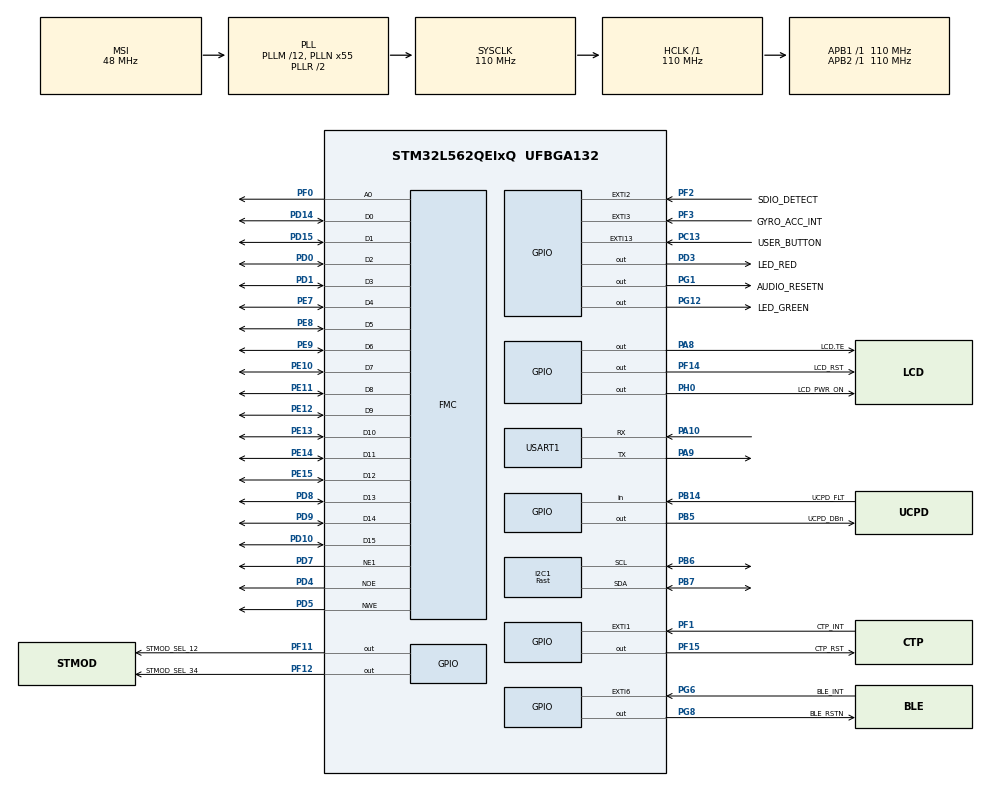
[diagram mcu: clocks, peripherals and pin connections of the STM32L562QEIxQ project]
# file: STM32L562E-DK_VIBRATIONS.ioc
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FMC.ExtendedMode1=FMC_EXTENDED_MODE_ENABLE
I2C1.I2C_Speed_Mode=I2C_Fast
I2C1.Timing=0x00A03AC8
Mcu.Family=STM32L5
Mcu.Name=STM32L562QEIxQ
Mcu.Package=UFBGA132
Mcu.TrustZone=disable
NVIC.EXTI13_IRQn=true\:0\:0\:false\:false\:true\:true\:true
NVIC.PriorityGroup=NVIC_PRIORITYGROUP_3
NVIC.TIM6_IRQn=true\:0\:0\:false\:false\:true\:true\:true
NVIC.USART1_IRQn=true\:0\:0\:false\:false\:true\:true\:true
PA10.Mode=Asynchronous
PA10.Signal=USART1_RX
PA13\ (JTMS/SWDIO).Signal=DEBUG_JTMS-SWDIO
PA14\ (JTCK/SWCLK).Signal=DEBUG_JTCK-SWCLK
PA8.GPIO_Label=LCD.TE
PA8.PinState=GPIO_PIN_RESET
PA8.Signal=GPIO_Output
PA9.Mode=Asynchronous
PA9.Signal=USART1_TX
PB10.Signal=LPUART1_RX
PB11.Signal=LPUART1_TX
PB12.Signal=S_DATAIN1DFSDM1
PB14.GPIO_Label=UCPD_FLT
PB14.Signal=GPIO_Input
PB15.Signal=UCPD1_CC2
PB3\ (JTDO/TRACESWO).Signal=DEBUG_JTDO-SWO
PB5.GPIO_Label=UCPD_DBn
PB5.Signal=GPIO_Output
PB6.Mode=I2C
PB6.Signal=I2C1_SCL
PB7.Mode=I2C
PB7.Signal=I2C1_SDA
PC13.GPIO_Label=USER_BUTTON
PC13.GPIO_PuPd=GPIO_NOPULL
PC13.Signal=GPXTI13
PD0.Signal=FMC_D2_DA2
PD1.Signal=FMC_D3_DA3
PD10.Signal=FMC_D15_DA15
PD14.Signal=FMC_D0_DA0
PD15.Signal=FMC_D1_DA1
PD3.GPIO_Label=LED_RED
PD3.Signal=GPIO_Output
PD4.Signal=FMC_NOE
PD5.Signal=FMC_NWE
PD7.Mode=NorPsramChipSelect1_1
PD7.Signal=FMC_NE1
PD8.Signal=FMC_D13_DA13
PD9.Signal=FMC_D14_DA14
PE10.Signal=FMC_D7_DA7
PE11.Signal=FMC_D8_DA8
PE12.Signal=FMC_D9_DA9
PE13.Signal=FMC_D10_DA10
PE14.Signal=FMC_D11_DA11
PE15.Signal=FMC_D12_DA12
PE7.Signal=FMC_D4_DA4
PE8.Signal=FMC_D5_DA5
PE9.Signal=FMC_D6_DA6
PF0.Signal=FMC_A0
PF1.GPIO_Label=CTP_INT
PF1.Signal=GPXTI1
PF11.GPIO_Label=STMOD_SEL_12
PF11.Signal=GPIO_Output
PF12.GPIO_Label=STMOD_SEL_34
PF12.Signal=GPIO_Output
PF14.GPIO_Label=LCD_RST
PF14.Signal=GPIO_Output
PF15.GPIO_Label=CTP_RST
PF15.Signal=GPIO_Output
PF2.GPIO_Label=SDIO_DETECT
PF2.Signal=GPXTI2
PF3.GPIO_Label=GYRO_ACC_INT
PF3.Signal=GPXTI3
PG1.GPIO_Label=AUDIO_RESETN
PG1.Signal=GPIO_Output
PG12.GPIO_Label=LED_GREEN
PG12.Signal=GPIO_Output
PG2.Signal=SPI1_SCK
PG3.Signal=SPI1_MISO
PG4.Signal=SPI1_MOSI
PG6.GPIO_Label=BLE_INT
PG6.Signal=GPXTI6
PG8.GPIO_Label=BLE_RSTN
PG8.Signal=GPIO_Output
PH0-OSC_IN\ (PH0).GPIO_Label=LCD_PWR_ON
PH0-OSC_IN\ (PH0).Signal=GPIO_Output
ProjectManager.HeapSize=0x200
ProjectManager.StackSize=0x400
ProjectManager.TargetToolchain=STM32CubeIDE
RCC.ADCFreq_Value=96000000
RCC.AHBFreq_Value=110000000
RCC.APB1Freq_Value=110000000
RCC.APB1TimFreq_Value=110000000
RCC.APB2Freq_Value=110000000
RCC.APB2TimFreq_Value=110000000
RCC.CK48CLockSelection=RCC_USBCLKSOURCE_MSI
RCC.CortexFreq_Value=110000000
RCC.HCLKFreq_Value=110000000
RCC.HSE_VALUE=8000000
RCC.HSI48_VALUE=48000000
RCC.HSI_VALUE=16000000
RCC.LSE_VALUE=32768
RCC.MSIClockRange=RCC_MSIRANGE_11
RCC.MSI_VALUE=48000000
RCC.PLLM=12
RCC.PLLN=55
RCC.PLLSAI1M=4
RCC.PLLSAI1N=48
RCC.PLLSAI1P=RCC_PLLP_DIV17
RCC.PLLSAI1Source=RCC_PLLSAI1SOURCE_HSI
RCC.SDMMCClockSelection=RCC_SDIOCLKSOURCE_CLK48
RCC.SYSCLKFreq_VALUE=110000000
RCC.SYSCLKSource=RCC_SYSCLKSOURCE_PLLCLK
RCC.USBFreq_Value=48000000
RCC.VCOOutputFreq_Value=220000000
SH.FMC_A0.0=FMC_A0,A0_1
SH.FMC_D0_DA0.0=FMC_DA0
SH.FMC_D0_DA0.1=FMC_D0,16b-d1
SH.FMC_D10_DA10.0=FMC_DA10
SH.FMC_D10_DA10.1=FMC_D10,16b-d1
SH.FMC_D11_DA11.0=FMC_DA11
SH.FMC_D11_DA11.1=FMC_D11,16b-d1
SH.FMC_D12_DA12.0=FMC_DA12
SH.FMC_D12_DA12.1=FMC_D12,16b-d1
SH.FMC_D13_DA13.0=FMC_DA13
SH.FMC_D13_DA13.1=FMC_D13,16b-d1
SH.FMC_D14_DA14.0=FMC_DA14
SH.FMC_D14_DA14.1=FMC_D14,16b-d1
SH.FMC_D15_DA15.0=FMC_DA15
SH.FMC_D15_DA15.1=FMC_D15,16b-d1
SH.FMC_D1_DA1.0=FMC_DA1
SH.FMC_D1_DA1.1=FMC_D1,16b-d1
SH.FMC_D2_DA2.0=FMC_DA2
SH.FMC_D2_DA2.1=FMC_D2,16b-d1
SH.FMC_D3_DA3.0=FMC_DA3
SH.FMC_D3_DA3.1=FMC_D3,16b-d1
SH.FMC_D4_DA4.0=FMC_DA4
SH.FMC_D4_DA4.1=FMC_D4,16b-d1
SH.FMC_D5_DA5.0=FMC_DA5
SH.FMC_D5_DA5.1=FMC_D5,16b-d1
SH.FMC_D6_DA6.0=FMC_DA6
SH.FMC_D6_DA6.1=FMC_D6,16b-d1
SH.FMC_D7_DA7.0=FMC_DA7
SH.FMC_D7_DA7.1=FMC_D7,16b-d1
SH.FMC_D8_DA8.0=FMC_DA8
SH.FMC_D8_DA8.1=FMC_D8,16b-d1
SH.FMC_D9_DA9.0=FMC_DA9
SH.FMC_D9_DA9.1=FMC_D9,16b-d1
SH.FMC_NOE.0=FMC_NOE,Lcd1
SH.FMC_NWE.0=FMC_NWE,Lcd1
SH.S_DATAIN1DFSDM1.0=DFSDM1_DATIN1
TIM6.Period=4999
TIM6.Prescaler=10999
USART1.VirtualMode-Asynchronous=VM_ASYNC
VP_PWR_VS_DBSignals.Mode=DisableDeadBatterySignals
VP_TIM6_VS_ClockSourceINT.Mode=Enable_Timer
board=STM32L562E-DK

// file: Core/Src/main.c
/* USER CODE BEGIN Header */
/**
  ******************************************************************************
  * @file           : main.c
  * @brief          : Main program body
  ******************************************************************************
  * @attention
  *
  * <h2><center>&copy; Copyright (c) 2021 STMicroelectronics.
  * All rights reserved.</center></h2>
  *
  * This software component is licensed by ST under BSD 3-Clause license,
  * the "License"; You may not use this file except in compliance with the
  * License. You may obtain a copy of the License at:
  *                        opensource.org/licenses/BSD-3-Clause
  *
  ******************************************************************************
  */
/* USER CODE END Header */
#include "main.h"

/* USER CODE BEGIN Includes */

#include <stdio.h>
#include <string.h>
#include "stm32l562e_discovery_lcd.h"
#include "lsm6dso.h"
#include "NanoEdgeAI.h"

/* USER CODE END Includes */

/* USER CODE BEGIN PTD */

typedef union {
  int16_t i16bit[AXIS_NUMBER];
  uint8_t u8bit[AXIS_NUMBER * 2];
} axis3bit16_t;

typedef enum{
	LEARNING,
	DETECTION
} NEAI_STATE;

typedef enum{
	DETECTION_CPU,
	NEAI_STATS
} LCD_DISPLAY_TYPE;

/* USER CODE END PTD */

/* USER CODE BEGIN PD */

#define LCD_INSTANCE			0
#define ACC_DATA_RATE			833		// 833, 1667 or 3333 Hz
#define DATALOG					0		// 0: program in NanoEdge AI mode | 1: program in datalogging mode
#define LEARNING_ITERATIONS		50		// When DATALOG 1: number of signals logged
#define NEAI_THRESHOLD			95		// Between 1 and 99, typically around 90

/* USER CODE END PD */

I2C_HandleTypeDef hi2c1;

TIM_HandleTypeDef htim6;

UART_HandleTypeDef huart1;

SRAM_HandleTypeDef hsram1;

/* USER CODE BEGIN PV */

stmdev_ctx_t accel_dev;

float acc_buffer_mg[AXIS_NUMBER * DATA_INPUT_USER + 1] = {0.0};
uint8_t display_string[50];
NEAI_STATE neai_state = LEARNING;
uint8_t learn_iteration = 0;
uint8_t similarity = 0, previous_similarity = 0;

float CPU_percent = 0.0;
uint32_t cycle_count = 55000000;

LCD_DISPLAY_TYPE lcd_display = DETECTION_CPU, previous_lcd_display = DETECTION_CPU;

/* USER CODE END PV */

void SystemClock_Config(void);
static void MX_GPIO_Init(void);
static void MX_FMC_Init(void);
static void MX_I2C1_Init(void);
static void MX_USART1_UART_Init(void);
static void MX_TIM6_Init(void);
/* USER CODE BEGIN PFP */

float map(float x, float in_min, float in_max, float out_min, float out_max);
void LCD_Screen_Init(void);
void LCD_Set_Text_Display(uint32_t backgroundColor, uint32_t textColor, sFONT * fontSize);
int32_t platform_write(void *handle, uint8_t reg, uint8_t *bufp, uint16_t len);
int32_t platform_read(void *handle, uint8_t reg, uint8_t *bufp, uint16_t len);
void LSM6DSO_Init(void);
void print_acc_data(void);
void draw_similarity_graph_axes(void);
void display_similarity_graph(void);

/* USER CODE END PFP */

int main(void)
{

  /* MCU Configuration--------------------------------------------------------*/

  /* Reset of all peripherals, Initializes the Flash interface and the Systick. */
  HAL_Init();

  /* Configure the system clock */
  SystemClock_Config();

  /* Initialize all configured peripherals */
  MX_GPIO_Init();
  MX_FMC_Init();
  MX_I2C1_Init();
  MX_USART1_UART_Init();
  MX_TIM6_Init();
  /* USER CODE BEGIN 2 */

#if DATALOG
  __HAL_TIM_SET_AUTORELOAD(&htim6, 14999);		// Set loop period to 1,5s
#endif

  enum neai_state error_code = neai_anomalydetection_init();	// Anomaly Detection init
  if (error_code != NEAI_OK) {									// Checking NEAI error code
	  printf("NEAI ERROR %d\nPROGRAM STOPPED\r\n", error_code);
	  while(1){}
  }

  LSM6DSO_Init();
  LCD_Screen_Init();
  HAL_TIM_Base_Start_IT(&htim6);

  /* USER CODE END 2 */

  /* Infinite loop */
  while (1)
  {

  }
}

void SystemClock_Config(void)
{
  RCC_OscInitTypeDef RCC_OscInitStruct = {0};
  RCC_ClkInitTypeDef RCC_ClkInitStruct = {0};

  /** Configure the main internal regulator output voltage
  */
  if (HAL_PWREx_ControlVoltageScaling(PWR_REGULATOR_VOLTAGE_SCALE0) != HAL_OK)
  {
    Error_Handler();
  }
  /** Initializes the RCC Oscillators according to the specified parameters
  * in the RCC_OscInitTypeDef structure.
  */
  RCC_OscInitStruct.OscillatorType = RCC_OSCILLATORTYPE_MSI;
  RCC_OscInitStruct.MSIState = RCC_MSI_ON;
  RCC_OscInitStruct.MSICalibrationValue = RCC_MSICALIBRATION_DEFAULT;
  RCC_OscInitStruct.MSIClockRange = RCC_MSIRANGE_11;
  RCC_OscInitStruct.PLL.PLLState = RCC_PLL_ON;
  RCC_OscInitStruct.PLL.PLLSource = RCC_PLLSOURCE_MSI;
  RCC_OscInitStruct.PLL.PLLM = 12;
  RCC_OscInitStruct.PLL.PLLN = 55;
  RCC_OscInitStruct.PLL.PLLP = RCC_PLLP_DIV7;
  RCC_OscInitStruct.PLL.PLLQ = RCC_PLLQ_DIV2;
  RCC_OscInitStruct.PLL.PLLR = RCC_PLLR_DIV2;
  if (HAL_RCC_OscConfig(&RCC_OscInitStruct) != HAL_OK)
  {
    Error_Handler();
  }
  /** Initializes the CPU, AHB and APB buses clocks
  */
  RCC_ClkInitStruct.ClockType = RCC_CLOCKTYPE_HCLK|RCC_CLOCKTYPE_SYSCLK
                              |RCC_CLOCKTYPE_PCLK1|RCC_CLOCKTYPE_PCLK2;
  RCC_ClkInitStruct.SYSCLKSource = RCC_SYSCLKSOURCE_PLLCLK;
  RCC_ClkInitStruct.AHBCLKDivider = RCC_SYSCLK_DIV1;
  RCC_ClkInitStruct.APB1CLKDivider = RCC_HCLK_DIV1;
  RCC_ClkInitStruct.APB2CLKDivider = RCC_HCLK_DIV1;

  if (HAL_RCC_ClockConfig(&RCC_ClkInitStruct, FLASH_LATENCY_5) != HAL_OK)
  {
    Error_Handler();
  }
}

static void MX_I2C1_Init(void)
{

  hi2c1.Instance = I2C1;
  hi2c1.Init.Timing = 0x00A03AC8;
  hi2c1.Init.OwnAddress1 = 0;
  hi2c1.Init.AddressingMode = I2C_ADDRESSINGMODE_7BIT;
  hi2c1.Init.DualAddressMode = I2C_DUALADDRESS_DISABLE;
  hi2c1.Init.OwnAddress2 = 0;
  hi2c1.Init.OwnAddress2Masks = I2C_OA2_NOMASK;
  hi2c1.Init.GeneralCallMode = I2C_GENERALCALL_DISABLE;
  hi2c1.Init.NoStretchMode = I2C_NOSTRETCH_DISABLE;
  if (HAL_I2C_Init(&hi2c1) != HAL_OK)
  {
    Error_Handler();
  }
  /** Configure Analogue filter
  */
  if (HAL_I2CEx_ConfigAnalogFilter(&hi2c1, I2C_ANALOGFILTER_ENABLE) != HAL_OK)
  {
    Error_Handler();
  }
  /** Configure Digital filter
  */
  if (HAL_I2CEx_ConfigDigitalFilter(&hi2c1, 0) != HAL_OK)
  {
    Error_Handler();
  }

}

static void MX_TIM6_Init(void)
{

  TIM_MasterConfigTypeDef sMasterConfig = {0};

  htim6.Instance = TIM6;
  htim6.Init.Prescaler = 10999;
  htim6.Init.CounterMode = TIM_COUNTERMODE_UP;
  htim6.Init.Period = 4999;
  htim6.Init.AutoReloadPreload = TIM_AUTORELOAD_PRELOAD_DISABLE;
  if (HAL_TIM_Base_Init(&htim6) != HAL_OK)
  {
    Error_Handler();
  }
  sMasterConfig.MasterOutputTrigger = TIM_TRGO_RESET;
  sMasterConfig.MasterSlaveMode = TIM_MASTERSLAVEMODE_DISABLE;
  if (HAL_TIMEx_MasterConfigSynchronization(&htim6, &sMasterConfig) != HAL_OK)
  {
    Error_Handler();
  }

}

static void MX_USART1_UART_Init(void)
{

  huart1.Instance = USART1;
  huart1.Init.BaudRate = 115200;
  huart1.Init.WordLength = UART_WORDLENGTH_8B;
  huart1.Init.StopBits = UART_STOPBITS_1;
  huart1.Init.Parity = UART_PARITY_NONE;
  huart1.Init.Mode = UART_MODE_TX_RX;
  huart1.Init.HwFlowCtl = UART_HWCONTROL_NONE;
  huart1.Init.OverSampling = UART_OVERSAMPLING_16;
  huart1.Init.OneBitSampling = UART_ONE_BIT_SAMPLE_DISABLE;
  huart1.Init.ClockPrescaler = UART_PRESCALER_DIV1;
  huart1.AdvancedInit.AdvFeatureInit = UART_ADVFEATURE_NO_INIT;
  if (HAL_UART_Init(&huart1) != HAL_OK)
  {
    Error_Handler();
  }
  if (HAL_UARTEx_SetTxFifoThreshold(&huart1, UART_TXFIFO_THRESHOLD_1_8) != HAL_OK)
  {
    Error_Handler();
  }
  if (HAL_UARTEx_SetRxFifoThreshold(&huart1, UART_RXFIFO_THRESHOLD_1_8) != HAL_OK)
  {
    Error_Handler();
  }
  if (HAL_UARTEx_DisableFifoMode(&huart1) != HAL_OK)
  {
    Error_Handler();
  }

}

/* FMC initialization function */
static void MX_FMC_Init(void)
{

  FMC_NORSRAM_TimingTypeDef Timing = {0};
  FMC_NORSRAM_TimingTypeDef ExtTiming = {0};

  /** Perform the SRAM1 memory initialization sequence
  */
  hsram1.Instance = FMC_NORSRAM_DEVICE;
  hsram1.Extended = FMC_NORSRAM_EXTENDED_DEVICE;
  /* hsram1.Init */
  hsram1.Init.NSBank = FMC_NORSRAM_BANK1;
  hsram1.Init.DataAddressMux = FMC_DATA_ADDRESS_MUX_DISABLE;
  hsram1.Init.MemoryType = FMC_MEMORY_TYPE_SRAM;
  hsram1.Init.MemoryDataWidth = FMC_NORSRAM_MEM_BUS_WIDTH_16;
  hsram1.Init.BurstAccessMode = FMC_BURST_ACCESS_MODE_DISABLE;
  hsram1.Init.WaitSignalPolarity = FMC_WAIT_SIGNAL_POLARITY_LOW;
  hsram1.Init.WaitSignalActive = FMC_WAIT_TIMING_BEFORE_WS;
  hsram1.Init.WriteOperation = FMC_WRITE_OPERATION_ENABLE;
  hsram1.Init.WaitSignal = FMC_WAIT_SIGNAL_DISABLE;
  hsram1.Init.ExtendedMode = FMC_EXTENDED_MODE_ENABLE;
  hsram1.Init.AsynchronousWait = FMC_ASYNCHRONOUS_WAIT_DISABLE;
  hsram1.Init.WriteBurst = FMC_WRITE_BURST_DISABLE;
  hsram1.Init.ContinuousClock = FMC_CONTINUOUS_CLOCK_SYNC_ONLY;
  hsram1.Init.WriteFifo = FMC_WRITE_FIFO_ENABLE;
  hsram1.Init.NBLSetupTime = 0;
  hsram1.Init.PageSize = FMC_PAGE_SIZE_NONE;
  hsram1.Init.MaxChipSelectPulse = DISABLE;
  /* Timing */
  Timing.AddressSetupTime = 15;
  Timing.AddressHoldTime = 15;
  Timing.DataSetupTime = 255;
  Timing.DataHoldTime = 0;
  Timing.BusTurnAroundDuration = 15;
  Timing.CLKDivision = 16;
  Timing.DataLatency = 17;
  Timing.AccessMode = FMC_ACCESS_MODE_A;
  /* ExtTiming */
  ExtTiming.AddressSetupTime = 15;
  ExtTiming.AddressHoldTime = 15;
  ExtTiming.DataSetupTime = 255;
  ExtTiming.DataHoldTime = 0;
  ExtTiming.BusTurnAroundDuration = 15;
  ExtTiming.CLKDivision = 16;
  ExtTiming.DataLatency = 17;
  ExtTiming.AccessMode = FMC_ACCESS_MODE_A;

  if (HAL_SRAM_Init(&hsram1, &Timing, &ExtTiming) != HAL_OK)
  {
    Error_Handler( );
  }

}

static void MX_GPIO_Init(void)
{
  GPIO_InitTypeDef GPIO_InitStruct = {0};

  /* GPIO Ports Clock Enable */
  __HAL_RCC_GPIOB_CLK_ENABLE();
  __HAL_RCC_GPIOG_CLK_ENABLE();
  HAL_PWREx_EnableVddIO2();
  __HAL_RCC_GPIOD_CLK_ENABLE();
  __HAL_RCC_GPIOC_CLK_ENABLE();
  __HAL_RCC_GPIOA_CLK_ENABLE();
  __HAL_RCC_GPIOF_CLK_ENABLE();
  __HAL_RCC_GPIOH_CLK_ENABLE();
  __HAL_RCC_GPIOE_CLK_ENABLE();

  /*Configure GPIO pin Output Level */
  HAL_GPIO_WritePin(GPIOG, LED_GREEN_Pin|BLE_RSTN_Pin|AUDIO_RESETN_Pin, GPIO_PIN_RESET);

  /*Configure GPIO pin Output Level */
  HAL_GPIO_WritePin(LED_RED_GPIO_Port, LED_RED_Pin, GPIO_PIN_RESET);

  /*Configure GPIO pin Output Level */
  HAL_GPIO_WritePin(UCPD_DBn_GPIO_Port, UCPD_DBn_Pin, GPIO_PIN_RESET);

  /*Configure GPIO pin Output Level */
  HAL_GPIO_WritePin(LCD_TE_GPIO_Port, LCD_TE_Pin, GPIO_PIN_RESET);

  /*Configure GPIO pin Output Level */
  HAL_GPIO_WritePin(LCD_PWR_ON_GPIO_Port, LCD_PWR_ON_Pin, GPIO_PIN_RESET);

  /*Configure GPIO pin Output Level */
  HAL_GPIO_WritePin(GPIOF, LCD_RST_Pin|STMOD_SEL_12_Pin|STMOD_SEL_34_Pin|CTP_RST_Pin, GPIO_PIN_RESET);

  /*Configure GPIO pins : LED_GREEN_Pin BLE_RSTN_Pin AUDIO_RESETN_Pin */
  GPIO_InitStruct.Pin = LED_GREEN_Pin|BLE_RSTN_Pin|AUDIO_RESETN_Pin;
  GPIO_InitStruct.Mode = GPIO_MODE_OUTPUT_PP;
  GPIO_InitStruct.Pull = GPIO_NOPULL;
  GPIO_InitStruct.Speed = GPIO_SPEED_FREQ_LOW;
  HAL_GPIO_Init(GPIOG, &GPIO_InitStruct);

  /*Configure GPIO pin : USER_BUTTON_Pin */
  GPIO_InitStruct.Pin = USER_BUTTON_Pin;
  GPIO_InitStruct.Mode = GPIO_MODE_IT_RISING;
  GPIO_InitStruct.Pull = GPIO_NOPULL;
  HAL_GPIO_Init(USER_BUTTON_GPIO_Port, &GPIO_InitStruct);

  /*Configure GPIO pin : LED_RED_Pin */
  GPIO_InitStruct.Pin = LED_RED_Pin;
  GPIO_InitStruct.Mode = GPIO_MODE_OUTPUT_PP;
  GPIO_InitStruct.Pull = GPIO_NOPULL;
  GPIO_InitStruct.Speed = GPIO_SPEED_FREQ_LOW;
  HAL_GPIO_Init(LED_RED_GPIO_Port, &GPIO_InitStruct);

  /*Configure GPIO pins : GYRO_ACC_INT_Pin SDIO_DETECT_Pin CTP_INT_Pin */
  GPIO_InitStruct.Pin = GYRO_ACC_INT_Pin|SDIO_DETECT_Pin|CTP_INT_Pin;
  GPIO_InitStruct.Mode = GPIO_MODE_IT_RISING;
  GPIO_InitStruct.Pull = GPIO_NOPULL;
  HAL_GPIO_Init(GPIOF, &GPIO_InitStruct);

  /*Configure GPIO pin : UCPD_DBn_Pin */
  GPIO_InitStruct.Pin = UCPD_DBn_Pin;
  GPIO_InitStruct.Mode = GPIO_MODE_OUTPUT_PP;
  GPIO_InitStruct.Pull = GPIO_NOPULL;
  GPIO_InitStruct.Speed = GPIO_SPEED_FREQ_LOW;
  HAL_GPIO_Init(UCPD_DBn_GPIO_Port, &GPIO_InitStruct);

  /*Configure GPIO pin : LCD_TE_Pin */
  GPIO_InitStruct.Pin = LCD_TE_Pin;
  GPIO_InitStruct.Mode = GPIO_MODE_OUTPUT_PP;
  GPIO_InitStruct.Pull = GPIO_NOPULL;
  GPIO_InitStruct.Speed = GPIO_SPEED_FREQ_LOW;
  HAL_GPIO_Init(LCD_TE_GPIO_Port, &GPIO_InitStruct);

  /*Configure GPIO pin : LCD_PWR_ON_Pin */
  GPIO_InitStruct.Pin = LCD_PWR_ON_Pin;
  GPIO_InitStruct.Mode = GPIO_MODE_OUTPUT_PP;
  GPIO_InitStruct.Pull = GPIO_NOPULL;
  GPIO_InitStruct.Speed = GPIO_SPEED_FREQ_LOW;
  HAL_GPIO_Init(LCD_PWR_ON_GPIO_Port, &GPIO_InitStruct);

  /*Configure GPIO pin : BLE_INT_Pin */
  GPIO_InitStruct.Pin = BLE_INT_Pin;
  GPIO_InitStruct.Mode = GPIO_MODE_IT_RISING;
  GPIO_InitStruct.Pull = GPIO_NOPULL;
  HAL_GPIO_Init(BLE_INT_GPIO_Port, &GPIO_InitStruct);

  /*Configure GPIO pins : PG4 PG2 PG3 */
  GPIO_InitStruct.Pin = GPIO_PIN_4|GPIO_PIN_2|GPIO_PIN_3;
  GPIO_InitStruct.Mode = GPIO_MODE_AF_PP;
  GPIO_InitStruct.Pull = GPIO_NOPULL;
  GPIO_InitStruct.Speed = GPIO_SPEED_FREQ_LOW;
  GPIO_InitStruct.Alternate = GPIO_AF5_SPI1;
  HAL_GPIO_Init(GPIOG, &GPIO_InitStruct);

  /*Configure GPIO pins : LCD_RST_Pin STMOD_SEL_12_Pin STMOD_SEL_34_Pin CTP_RST_Pin */
  GPIO_InitStruct.Pin = LCD_RST_Pin|STMOD_SEL_12_Pin|STMOD_SEL_34_Pin|CTP_RST_Pin;
  GPIO_InitStruct.Mode = GPIO_MODE_OUTPUT_PP;
  GPIO_InitStruct.Pull = GPIO_NOPULL;
  GPIO_InitStruct.Speed = GPIO_SPEED_FREQ_LOW;
  HAL_GPIO_Init(GPIOF, &GPIO_InitStruct);

  /*Configure GPIO pins : PB10 PB11 */
  GPIO_InitStruct.Pin = GPIO_PIN_10|GPIO_PIN_11;
  GPIO_InitStruct.Mode = GPIO_MODE_AF_PP;
  GPIO_InitStruct.Pull = GPIO_NOPULL;
  GPIO_InitStruct.Speed = GPIO_SPEED_FREQ_LOW;
  GPIO_InitStruct.Alternate = GPIO_AF8_LPUART1;
  HAL_GPIO_Init(GPIOB, &GPIO_InitStruct);

  /*Configure GPIO pin : UCPD_FLT_Pin */
  GPIO_InitStruct.Pin = UCPD_FLT_Pin;
  GPIO_InitStruct.Mode = GPIO_MODE_INPUT;
  GPIO_InitStruct.Pull = GPIO_NOPULL;
  HAL_GPIO_Init(UCPD_FLT_GPIO_Port, &GPIO_InitStruct);

  /*Configure GPIO pin : PB15 */
  GPIO_InitStruct.Pin = GPIO_PIN_15;
  GPIO_InitStruct.Mode = GPIO_MODE_ANALOG;
  GPIO_InitStruct.Pull = GPIO_NOPULL;
  HAL_GPIO_Init(GPIOB, &GPIO_InitStruct);

  /*Configure GPIO pin : PB12 */
  GPIO_InitStruct.Pin = GPIO_PIN_12;
  GPIO_InitStruct.Mode = GPIO_MODE_AF_PP;
  GPIO_InitStruct.Pull = GPIO_NOPULL;
  GPIO_InitStruct.Speed = GPIO_SPEED_FREQ_LOW;
  GPIO_InitStruct.Alternate = GPIO_AF6_DFSDM1;
  HAL_GPIO_Init(GPIOB, &GPIO_InitStruct);

  /* EXTI interrupt init*/
  HAL_NVIC_SetPriority(EXTI13_IRQn, 0, 0);
  HAL_NVIC_EnableIRQ(EXTI13_IRQn);

}

/* USER CODE BEGIN 4 */

/*
 * __io_putchar(int ch) and int _write(int file,char *ptr, int len):
 * Functions allowing to use printf to a serial terminal
 */
int __io_putchar(int ch)
{
	uint8_t c[1];
	c[0] = ch & 0x00FF;
	HAL_UART_Transmit(&huart1, &*c, 1, 1000);
	return ch;
}

int _write(int file,char *ptr, int len)
{
	int DataIdx;
	for(DataIdx= 0; DataIdx< len; DataIdx++) {
		__io_putchar(*ptr++);
	}
	return len;
}

/*
 * Function to map a value from an input range to an output range
 */
float map(float x, float in_min, float in_max, float out_min, float out_max)
{
	return (x - in_min) * (out_max - out_min) / (in_max - in_min) + out_min;
}

/*
 * LCD screen Init function
 */
void LCD_Screen_Init(void)
{
	if(BSP_LCD_Init(LCD_INSTANCE, LCD_ORIENTATION_PORTRAIT) != BSP_ERROR_NONE) {
			while(1){}
	}
	if(BSP_LCD_SetFuncDriver() != BSP_ERROR_NONE) {
			while(1){}
	}
	if(BSP_LCD_DisplayOn(LCD_INSTANCE) != BSP_ERROR_NONE) {
			while(1){}
	}
}

/*
 * LCD screen display settings
 */
void LCD_Set_Text_Display(uint32_t backgroundColor, uint32_t textColor, sFONT * fontSize)
{
	BSP_LCD_SetFont(fontSize);
	BSP_LCD_SetBackColor(backgroundColor);
	BSP_LCD_SetTextColor(textColor);
}

/*
 * I2C read and write functions used by the LSM6DSO driver
 */
int32_t platform_write(void *handle, uint8_t reg, uint8_t *bufp, uint16_t len)
{
	int32_t status = 0;
	status = HAL_I2C_Mem_Write(handle, LSM6DSO_I2C_ADD_L, reg, I2C_MEMADD_SIZE_8BIT, bufp, len, 1000);
	return status;
}

int32_t platform_read(void *handle, uint8_t reg, uint8_t *bufp, uint16_t len)
{
	int32_t status = 0;
	status = HAL_I2C_Mem_Read(handle, LSM6DSO_I2C_ADD_L, reg, I2C_MEMADD_SIZE_8BIT, bufp, len, 1000);
	return status;
}

/*
 * LSM6DSO accelerometer init function
 */
void LSM6DSO_Init(void)
{
	uint8_t whoamI = 0, rst = 0;
	accel_dev.handle = &hi2c1;
	accel_dev.write_reg = platform_write;
	accel_dev.read_reg = platform_read;

	lsm6dso_reset_set(&accel_dev, PROPERTY_ENABLE);		// Restore default configuration
	HAL_Delay(100);										// Wait sensor boot time (min = 10 ms)
	lsm6dso_device_id_get(&accel_dev, &whoamI);			// Check device ID
	if (whoamI != LSM6DSO_ID) {
		printf("ERROR LSM6DSO WHOAMI: whoami = %d\r\n", whoamI);
		LSM6DSO_Init();
	}
	do {
		lsm6dso_reset_get(&accel_dev, &rst);
	} while (rst);

	lsm6dso_i3c_disable_set(&accel_dev, LSM6DSO_I3C_DISABLE);			// Disable I3C interface
	lsm6dso_block_data_update_set(&accel_dev, PROPERTY_ENABLE);			// Enable Block Data Update
	lsm6dso_xl_full_scale_set(&accel_dev, LSM6DSO_2g);					// Set full scale (sensitivity) to 2g
	if(ACC_DATA_RATE == 3333)
		lsm6dso_xl_data_rate_set(&accel_dev, LSM6DSO_XL_ODR_3333Hz);	// Set Output Data Rate to 3333 Hz
	else if(ACC_DATA_RATE == 1667)
		lsm6dso_xl_data_rate_set(&accel_dev, LSM6DSO_XL_ODR_1667Hz);	// Set Output Data Rate to 1667 Hz
	else
		lsm6dso_xl_data_rate_set(&accel_dev, LSM6DSO_XL_ODR_833Hz);		// Set Output Data Rate to 833 Hz
}

/*
 * Print accelerometer data buffer
 */
void print_acc_data(void)
{
	static char acc_buffer_mg_uint8[8 * DATA_INPUT_USER * AXIS_NUMBER + 1];
	for(uint32_t buf_index = 0 ; buf_index < DATA_INPUT_USER * AXIS_NUMBER ; buf_index++) {
		snprintf(acc_buffer_mg_uint8 + 8*buf_index, 8, "%.5f", acc_buffer_mg[buf_index]);
		*(acc_buffer_mg_uint8 + 8*buf_index + 7) = ' ';
	}
	*(acc_buffer_mg_uint8 + 8*(DATA_INPUT_USER * AXIS_NUMBER)) = '\n';
	HAL_UART_Transmit_IT(&huart1, (uint8_t *)acc_buffer_mg_uint8, sizeof(acc_buffer_mg_uint8));
}

/*
 * Draw X and Y axes to display similarity graph
 */
void draw_similarity_graph_axes(void)
{
	// Draw X-axis (line + arrow)
	BSP_LCD_DrawLine(LCD_INSTANCE, 8, 233, 230, 233, LCD_COLOR_WHITE);
	BSP_LCD_DrawLine(LCD_INSTANCE, 230, 233, 227, 236, LCD_COLOR_WHITE);
	BSP_LCD_DrawLine(LCD_INSTANCE, 230, 233, 227, 230, LCD_COLOR_WHITE);

	// Draw Y-axis (line + arrow)
	BSP_LCD_DrawLine(LCD_INSTANCE, 11, 236, 11, 175, LCD_COLOR_WHITE);
	BSP_LCD_DrawLine(LCD_INSTANCE, 11, 175, 8, 178, LCD_COLOR_WHITE);
	BSP_LCD_DrawLine(LCD_INSTANCE, 11, 175, 14, 178, LCD_COLOR_WHITE);
}

/*
 * Display the similarity graph
 */
void display_similarity_graph(void)
{
	static uint8_t pix[43][49] = {{0}};
	static uint8_t previous_x_pix = 50, previous_y_pix = 0;
	static float last_y_pix = 0.0;

	BSP_LCD_FillRect(LCD_INSTANCE, 13, 182, 212, 49, BSP_LCD_GetBackColor());
	pix[42][(uint32_t)last_y_pix] = 0;
	BSP_LCD_DrawLine(LCD_INSTANCE, 220, 231 - (uint32_t)last_y_pix, 224, 231 - (uint32_t)last_y_pix, BSP_LCD_GetBackColor());
	last_y_pix = map((float)similarity, 0.0, 100.0, 0.0, 48.0);
	pix[42][(uint32_t)last_y_pix] = 1;
	BSP_LCD_DrawLine(LCD_INSTANCE, 220, 231 - (uint32_t)last_y_pix, 224, 231 - (uint32_t)last_y_pix, LCD_COLOR_WHITE);
	for(uint8_t x_pix = 0 ; x_pix < 42 ; x_pix++) {
		for(uint8_t y_pix = 0 ; y_pix < 49 ; y_pix++) {
			pix[x_pix][y_pix] = pix[x_pix + 1][y_pix];
			if(pix[x_pix][y_pix] == 1) {
				BSP_LCD_DrawLine(LCD_INSTANCE, 13 + 5*x_pix, 231 - y_pix, 13 + 5*x_pix+4, 231 - y_pix, LCD_COLOR_WHITE);
				BSP_LCD_DrawLine(LCD_INSTANCE, 13 + 5*x_pix+5, 231 - y_pix, 13 + 5*x_pix+9, 231 - y_pix, BSP_LCD_GetBackColor());
				if(x_pix > previous_x_pix && previous_x_pix < 41)
					BSP_LCD_DrawLine(LCD_INSTANCE, 13 + 5*previous_x_pix+4, 231 - previous_y_pix, 13 + 5*x_pix, 231 - y_pix, LCD_COLOR_WHITE);
				previous_x_pix = x_pix;
				previous_y_pix = y_pix;
			}
		}
	}
}

/*
 * Get first half of accelerometer data buffer
 */
void HAL_UART_TxHalfCpltCallback(UART_HandleTypeDef *huart)
{
	if(huart == &huart1) {
		axis3bit16_t acc_buffer_raw;
		for(uint16_t data_index = 0 ; data_index < DATA_INPUT_USER / 2 ; data_index++) {
			static uint8_t acc_flag_data_ready = 0;
			do {
				lsm6dso_xl_flag_data_ready_get(&accel_dev, &acc_flag_data_ready);
			} while(!acc_flag_data_ready);
			memset(acc_buffer_raw.i16bit, 0x00, AXIS_NUMBER * sizeof(int16_t));
			lsm6dso_acceleration_raw_get(&accel_dev, acc_buffer_raw.i16bit);
			acc_buffer_mg[AXIS_NUMBER * data_index] = lsm6dso_from_fs2_to_mg(acc_buffer_raw.i16bit[0]);
			acc_buffer_mg[AXIS_NUMBER * data_index + 1] = lsm6dso_from_fs2_to_mg(acc_buffer_raw.i16bit[1]);
			acc_buffer_mg[AXIS_NUMBER * data_index + 2] = lsm6dso_from_fs2_to_mg(acc_buffer_raw.i16bit[2]);
		}
	}
}

/*
 * Get second half of accelerometer data buffer
 */
void HAL_UART_TxCpltCallback(UART_HandleTypeDef *huart)
{
	if(huart == &huart1) {
		axis3bit16_t acc_buffer_raw;
		for(uint16_t data_index = DATA_INPUT_USER / 2 ; data_index < DATA_INPUT_USER ; data_index++) {
			static uint8_t acc_flag_data_ready = 0;
			do {
				lsm6dso_xl_flag_data_ready_get(&accel_dev, &acc_flag_data_ready);
			} while(!acc_flag_data_ready);
			memset(acc_buffer_raw.i16bit, 0x00, AXIS_NUMBER * sizeof(int16_t));
			lsm6dso_acceleration_raw_get(&accel_dev, acc_buffer_raw.i16bit);
			acc_buffer_mg[AXIS_NUMBER * data_index] = lsm6dso_from_fs2_to_mg(acc_buffer_raw.i16bit[0]);
			acc_buffer_mg[AXIS_NUMBER * data_index + 1] = lsm6dso_from_fs2_to_mg(acc_buffer_raw.i16bit[1]);
			acc_buffer_mg[AXIS_NUMBER * data_index + 2] = lsm6dso_from_fs2_to_mg(acc_buffer_raw.i16bit[2]);
		}
	}
}

void HAL_TIM_PeriodElapsedCallback(TIM_HandleTypeDef *htim)
{
	if(lcd_display == DETECTION_CPU) {
		if(neai_state == LEARNING) {
#if !DATALOG
			if(learn_iteration == 0 || previous_lcd_display != lcd_display) {
				BSP_LCD_Clear(LCD_INSTANCE, LCD_COLOR_ST_BLUE_DARK);
				LCD_Set_Text_Display(LCD_COLOR_ST_BLUE_DARK, LCD_COLOR_ST_YELLOW, &Font24);
				sprintf((char *)display_string, "Learning");
				BSP_LCD_DisplayStringAtLine(LCD_INSTANCE, 1, display_string, CENTER_MODE);
				sprintf((char *)display_string, "in progress");
				BSP_LCD_DisplayStringAtLine(LCD_INSTANCE, 2, display_string, CENTER_MODE);
				LCD_Set_Text_Display(LCD_COLOR_ST_BLUE_DARK, LCD_COLOR_ST_YELLOW, &Font20);
				BSP_LCD_DrawRect(LCD_INSTANCE, 20, 150, 200, 30, LCD_COLOR_ST_YELLOW);
			}
#endif
			if(learn_iteration < LEARNING_ITERATIONS) {
		    	HAL_UART_TxHalfCpltCallback(&huart1);
		    	HAL_UART_TxCpltCallback(&huart1);
#if DATALOG
				print_acc_data();
				BSP_LCD_Clear(LCD_INSTANCE, LCD_COLOR_ST_BLUE_DARK);
				LCD_Set_Text_Display(LCD_COLOR_ST_BLUE_DARK, LCD_COLOR_ST_YELLOW, &Font24);
				sprintf((char *)display_string, "DATALOG");
				BSP_LCD_ClearStringLine(LCD_INSTANCE, 4);
				BSP_LCD_DisplayStringAtLine(LCD_INSTANCE, 4, display_string, CENTER_MODE);
				sprintf((char *)display_string, "%d/%d", learn_iteration+1, LEARNING_ITERATIONS);
				BSP_LCD_ClearStringLine(LCD_INSTANCE, 6);
				BSP_LCD_DisplayStringAtLine(LCD_INSTANCE, 6, display_string, CENTER_MODE);
#else
				sprintf((char *)display_string, "%d/%d", learn_iteration+1, LEARNING_ITERATIONS);
				BSP_LCD_ClearStringLine(LCD_INSTANCE, 4);
				BSP_LCD_DisplayStringAtLine(LCD_INSTANCE, 4, display_string, CENTER_MODE);
				neai_anomalydetection_learn(acc_buffer_mg);
				printf("Learn %d/%d\r\n", learn_iteration+1, LEARNING_ITERATIONS);
#endif
				learn_iteration++;
			} else {
				neai_state = DETECTION;
				__HAL_TIM_SET_AUTORELOAD(&htim6, 9999);
			}
		} else if(neai_state == DETECTION) {
#if !DATALOG
			HAL_UART_TxHalfCpltCallback(&huart1);
			HAL_UART_TxCpltCallback(&huart1);
			previous_similarity = similarity;
			neai_anomalydetection_detect(acc_buffer_mg, &similarity);
			printf("Similarity = %d%%\r\n", similarity);
			if(similarity < NEAI_THRESHOLD && (previous_similarity >= NEAI_THRESHOLD || previous_lcd_display != lcd_display)) {
				BSP_LCD_Clear(LCD_INSTANCE, LCD_COLOR_DARKRED);
				LCD_Set_Text_Display(LCD_COLOR_DARKRED, LCD_COLOR_ST_YELLOW, &Font24);
				sprintf((char *)display_string, "Detection");
				BSP_LCD_DisplayStringAtLine(LCD_INSTANCE, 1, display_string, CENTER_MODE);
				sprintf((char *)display_string, "in progress");
				BSP_LCD_DisplayStringAtLine(LCD_INSTANCE, 2, display_string, CENTER_MODE);
				sprintf((char *)display_string, "ANOMALY");
				BSP_LCD_DisplayStringAt(LCD_INSTANCE, 0, 110, display_string, CENTER_MODE);
				LCD_Set_Text_Display(LCD_COLOR_DARKRED, LCD_COLOR_ST_YELLOW, &Font20);
				draw_similarity_graph_axes();
			} else if (similarity >= NEAI_THRESHOLD && (previous_similarity < NEAI_THRESHOLD || previous_lcd_display != lcd_display)) {
				BSP_LCD_Clear(LCD_INSTANCE, LCD_COLOR_DARKGREEN);
				LCD_Set_Text_Display(LCD_COLOR_DARKGREEN, LCD_COLOR_ST_YELLOW, &Font24);
				sprintf((char *)display_string, "Detection");
				BSP_LCD_DisplayStringAtLine(LCD_INSTANCE, 1, display_string, CENTER_MODE);
				sprintf((char *)display_string, "in progress");
				BSP_LCD_DisplayStringAtLine(LCD_INSTANCE, 2, display_string, CENTER_MODE);
				sprintf((char *)display_string, "NOMINAL");
				BSP_LCD_DisplayStringAt(LCD_INSTANCE, 0, 110, display_string, CENTER_MODE);
				LCD_Set_Text_Display(LCD_COLOR_DARKGREEN, LCD_COLOR_ST_YELLOW, &Font20);
				draw_similarity_graph_axes();
			}
			sprintf((char *)display_string, "Similarity = %d%%", similarity);
			BSP_LCD_ClearStringLine(LCD_INSTANCE, 7);
			BSP_LCD_DisplayStringAtLine(LCD_INSTANCE, 7, display_string, CENTER_MODE);
#endif
		}
#if !DATALOG
		if(neai_state == LEARNING)
			BSP_LCD_FillRect(LCD_INSTANCE, 20, 150, (uint32_t)map((float)learn_iteration, 0, LEARNING_ITERATIONS, 0, 200), 30, LCD_COLOR_ST_YELLOW);
		else if(neai_state == DETECTION)
			display_similarity_graph();
#endif
	} else {
		BSP_LCD_FillRect(LCD_INSTANCE, 0, 0, 240, 30, LCD_COLOR_ST_BLUE_LIGHT);
		LCD_Set_Text_Display(LCD_COLOR_ST_BLUE_LIGHT, LCD_COLOR_BLACK, &Font20);
		sprintf((char *)display_string, "NanoEdge AI lib");
		BSP_LCD_DisplayStringAt(LCD_INSTANCE, 0, 7, display_string, CENTER_MODE);

		BSP_LCD_FillRect(LCD_INSTANCE, 0, 30, 120, 70, LCD_COLOR_ST_BLUE_DARK);
		LCD_Set_Text_Display(LCD_COLOR_ST_BLUE_DARK, LCD_COLOR_ST_YELLOW, &Font16);
		sprintf((char *)display_string, "Accuracy");
		BSP_LCD_DisplayStringAt(LCD_INSTANCE, 15, 40, display_string, LEFT_MODE);
		LCD_Set_Text_Display(LCD_COLOR_ST_BLUE_DARK, LCD_COLOR_ST_YELLOW, &Font20);
		sprintf((char *)display_string, "100.0%%");
		BSP_LCD_DisplayStringAt(LCD_INSTANCE, 18, 65, display_string, LEFT_MODE);

		BSP_LCD_FillRect(LCD_INSTANCE, 120, 30, 120, 70, LCD_COLOR_ST_BLUE);
		LCD_Set_Text_Display(LCD_COLOR_ST_BLUE, LCD_COLOR_ST_YELLOW, &Font16);
		sprintf((char *)display_string, "Confidence");
		BSP_LCD_DisplayStringAt(LCD_INSTANCE, 125, 40, display_string, LEFT_MODE);
		LCD_Set_Text_Display(LCD_COLOR_ST_BLUE, LCD_COLOR_ST_YELLOW, &Font20);
		sprintf((char *)display_string, "100.0%%");
		BSP_LCD_DisplayStringAt(LCD_INSTANCE, 140, 65, display_string, LEFT_MODE);

		BSP_LCD_FillRect(LCD_INSTANCE, 0, 100, 120, 70, LCD_COLOR_RED);
		LCD_Set_Text_Display(LCD_COLOR_RED, LCD_COLOR_ST_YELLOW, &Font16);
		sprintf((char *)display_string, "RAM");
		BSP_LCD_DisplayStringAt(LCD_INSTANCE, 42, 110, display_string, LEFT_MODE);
		LCD_Set_Text_Display(LCD_COLOR_RED, LCD_COLOR_ST_YELLOW, &Font20);
		sprintf((char *)display_string, "2.8kB");
		BSP_LCD_DisplayStringAt(LCD_INSTANCE, 25, 130, display_string, LEFT_MODE);
		LCD_Set_Text_Display(LCD_COLOR_RED, LCD_COLOR_ST_YELLOW, &Font12);
		sprintf((char *)display_string, "+ Buffer 3.1kB");
		BSP_LCD_DisplayStringAt(LCD_INSTANCE, 12, 150, display_string, LEFT_MODE);

		BSP_LCD_FillRect(LCD_INSTANCE, 120, 100, 120, 70, LCD_COLOR_ORANGE);
		LCD_Set_Text_Display(LCD_COLOR_ORANGE, LCD_COLOR_ST_YELLOW, &Font16);
		sprintf((char *)display_string, "Flash");
		BSP_LCD_DisplayStringAt(LCD_INSTANCE, 154, 110, display_string, LEFT_MODE);
		LCD_Set_Text_Display(LCD_COLOR_ORANGE, LCD_COLOR_ST_YELLOW, &Font20);
		sprintf((char *)display_string, "3.6kB");
		BSP_LCD_DisplayStringAt(LCD_INSTANCE, 145, 135, display_string, LEFT_MODE);

		BSP_LCD_FillRect(LCD_INSTANCE, 0, 170, 240, 70, LCD_COLOR_DARKGRAY);
		LCD_Set_Text_Display(LCD_COLOR_DARKGRAY, LCD_COLOR_ST_YELLOW, &Font16);
		sprintf((char *)display_string, "CPU clock cycles");
		BSP_LCD_DisplayStringAt(LCD_INSTANCE, 0, 178, display_string, CENTER_MODE);
		sprintf((char *)display_string, "Learn: 619865");
		BSP_LCD_DisplayStringAt(LCD_INSTANCE, 5, 202, display_string, LEFT_MODE);
		sprintf((char *)display_string, "1.13%%");
		BSP_LCD_DisplayStringAt(LCD_INSTANCE, 175, 202, display_string, LEFT_MODE);
		BSP_LCD_DrawRect(LCD_INSTANCE, 173, 200, 59, 16, LCD_COLOR_ST_YELLOW);
		sprintf((char *)display_string, "Detect:616990");
		BSP_LCD_DisplayStringAt(LCD_INSTANCE, 5, 222, display_string, LEFT_MODE);
		sprintf((char *)display_string, "0.56%%");
		BSP_LCD_DisplayStringAt(LCD_INSTANCE, 175, 222, display_string, LEFT_MODE);
		BSP_LCD_DrawRect(LCD_INSTANCE, 173, 220, 59, 16, LCD_COLOR_ST_YELLOW);

		HAL_TIM_Base_Stop_IT(&htim6);
	}
	previous_lcd_display = lcd_display;
}

/*
 * Function called when a rising edge is detected on push button pin (= button pressed)
 */
void HAL_GPIO_EXTI_Rising_Callback(uint16_t GPIO_Pin)
{
	if(GPIO_Pin == GPIO_PIN_13) {
		if(lcd_display == DETECTION_CPU) {
			previous_lcd_display = DETECTION_CPU;
			lcd_display = NEAI_STATS;
		} else {
			previous_lcd_display = NEAI_STATS;
			lcd_display = DETECTION_CPU;
			HAL_TIM_Base_Start_IT(&htim6);
		}
	}
}

/* USER CODE END 4 */

void Error_Handler(void)
{
  __disable_irq();
  while (1)
  {
  }
}

/************************ (C) COPYRIGHT STMicroelectronics *****END OF FILE****/
